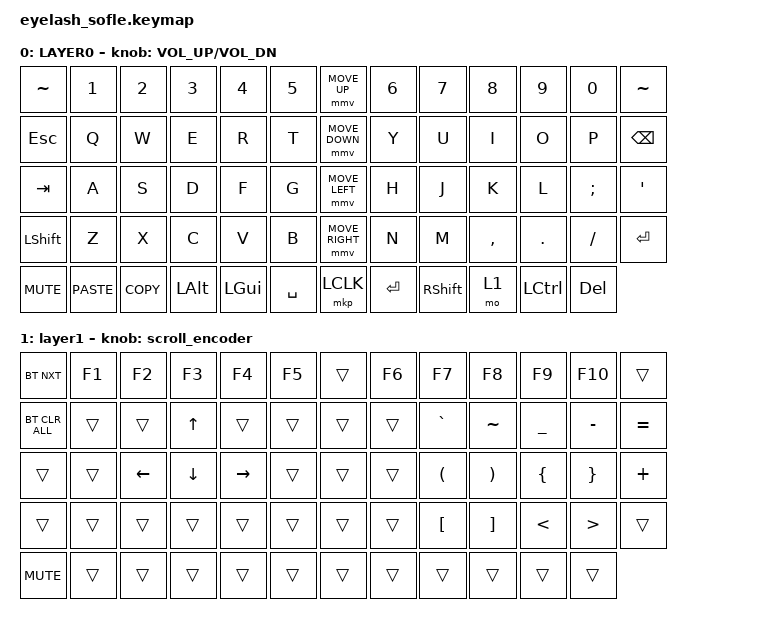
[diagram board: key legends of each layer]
#define ZMK_POINTING_DEFAULT_MOVE_VAL 1200  // 600
#define ZMK_POINTING_DEFAULT_SCRL_VAL 25   // 10

#include <input/processors.dtsi>
#include <zephyr/dt-bindings/input/input-event-codes.h>
#include <behaviors.dtsi>
#include <dt-bindings/zmk/bt.h>
#include <dt-bindings/zmk/keys.h>
#include <dt-bindings/zmk/pointing.h>

&mmv_input_listener { input-processors = <&zip_xy_scaler 2 1>; };

&msc_input_listener { input-processors = <&zip_scroll_scaler 2 1>; };

&msc {
    acceleration-exponent = <1>;      // 0
    time-to-max-speed-ms = <100>;       // 300
    delay-ms = <0>;                   // 0
};

&mmv {
    time-to-max-speed-ms = <500>;
    acceleration-exponent = <1>;
    trigger-period-ms = <16>;
};

/ {
    scroll_encoder: scroll_encoder {
        compatible = "zmk,behavior-sensor-rotate";
        #sensor-binding-cells = <0>;
        bindings = <&msc SCRL_DOWN>, <&msc SCRL_UP>;

        tap-ms = <100>;
    };

    behaviors {
    };

    keymap {
        compatible = "zmk,keymap";

        layer0 {
            bindings = <
&kp TILDE   &kp N1       &kp N2      &kp N3        &kp N4    &kp N5       &mmv MOVE_UP     &kp N6      &kp N7           &kp N8     &kp N9            &kp N0      &kp TILDE
&kp ESC     &kp Q        &kp W       &kp E         &kp R     &kp T        &mmv MOVE_DOWN   &kp Y       &kp U            &kp I      &kp O             &kp P       &kp BACKSPACE
&kp TAB     &kp A        &kp S       &kp D         &kp F     &kp G        &mmv MOVE_LEFT   &kp H       &kp J            &kp K      &kp L             &kp SEMI    &kp APOS
&kp LSHFT   &kp Z        &kp X       &kp C         &kp V     &kp B        &mmv MOVE_RIGHT  &kp N       &kp M            &kp COMMA  &kp DOT           &kp FSLH    &kp ENTER
&kp C_MUTE  &kp K_PASTE  &kp K_COPY  &kp LEFT_ALT  &kp LGUI  &kp SPACE    &mkp LCLK        &kp RETURN  &kp RIGHT_SHIFT  &mo 1      &kp LEFT_CONTROL  &kp DELETE
            >;

            sensor-bindings = <&inc_dec_kp C_VOLUME_UP C_VOL_DN>;
            display-name = "LAYER0";
        };

        layer_1 {
            bindings = <
&bt BT_NXT      &kp F1  &kp F2          &kp F3          &kp F4           &kp F5    &trans  &kp F6  &kp F7                &kp F8                 &kp F9          &kp F10           &trans
&bt BT_CLR_ALL  &trans  &trans          &kp UP_ARROW    &trans           &trans    &trans  &trans  &kp GRAVE             &kp TILDE              &kp UNDERSCORE  &kp MINUS         &kp EQUAL
&trans          &trans  &kp LEFT_ARROW  &kp DOWN_ARROW  &kp RIGHT_ARROW  &trans    &trans  &trans  &kp LEFT_PARENTHESIS  &kp RIGHT_PARENTHESIS  &kp LEFT_BRACE  &kp RIGHT_BRACE   &kp PLUS
&trans          &trans  &trans          &trans          &trans           &trans    &trans  &trans  &kp LEFT_BRACKET      &kp RIGHT_BRACKET      &kp LESS_THAN   &kp GREATER_THAN  &trans
&kp C_MUTE      &trans  &trans          &trans          &trans           &trans    &trans  &trans  &trans                &trans                 &trans          &trans
            >;

            display-name = "layer1";
            sensor-bindings = <&scroll_encoder>;
        };
    };
};
